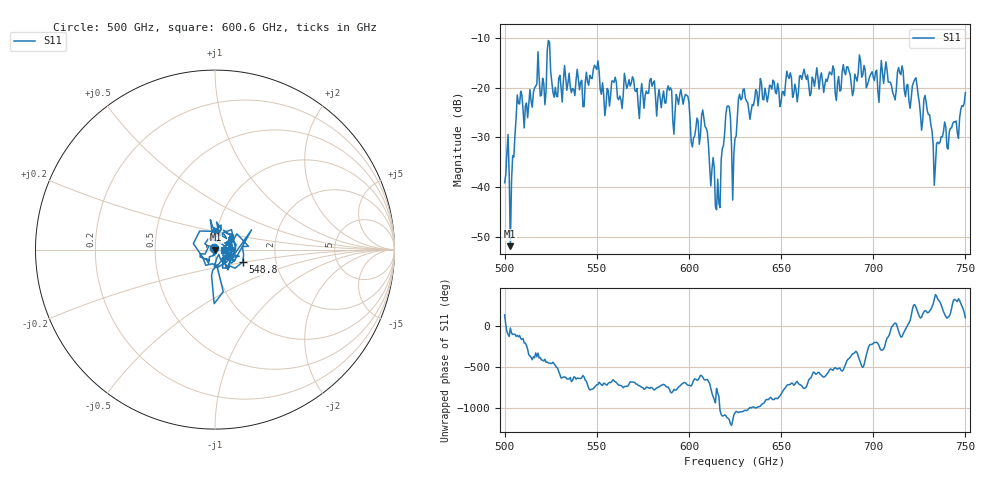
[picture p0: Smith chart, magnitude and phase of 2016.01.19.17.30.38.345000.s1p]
!Created with skrf (http://scikit-rf.org).
# GHz S RI R 50.0
!freq ReS11 ImS11
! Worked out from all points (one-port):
!   401 points, 500 GHz to 750 GHz, reference 50 ohm
!   lowest |S11| = -51.9 dB at 503.1 GHz (marker M1), VSWR 1.01, Z = 50.2 - j0.115 ohm
!   |S11| at or under -10 dB: start of sweep to end of sweep
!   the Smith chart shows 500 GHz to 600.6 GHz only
!   S11 on the Smith chart (normalised r, x): 500 GHz: 0.98, +0.02; 548.8 GHz: 1.35, -0.19; 600.6 GHz: 1.10, -0.01
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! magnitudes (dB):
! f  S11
! 500 GHz  -39.1
! 503.1 GHz  -51.9
! 508.1 GHz  -23.3
! 521.2 GHz  -19.1
! 524.4 GHz  -10.8
! 527.5 GHz  -19.9
! 531.2 GHz  -22.8
! 541.9 GHz  -18.5
! 548.8 GHz  -15.4
! 562.5 GHz  -21.6
! 568.8 GHz  -19.0
! 593.8 GHz  -22.2
! 598.8 GHz  -21.5
! 600.6 GHz  -26.4
! 608.1 GHz  -26.2
! 615.6 GHz  -38.4
! 620.6 GHz  -23.8
! 625 GHz  -30.2
! 628.8 GHz  -22.2
! 656.2 GHz  -21.9
! 687.5 GHz  -17.3
! 705.6 GHz  -19.1
! 711.2 GHz  -21.6
! 715 GHz  -17.3
! 718.8 GHz  -19.3
! 728.8 GHz  -23.0
! 733.8 GHz  -35.6
! 750 GHz  -21.0
